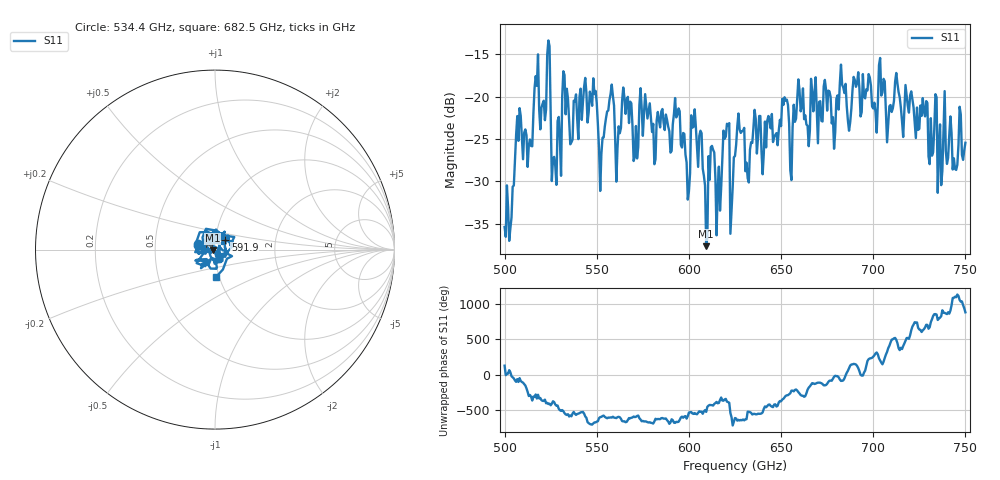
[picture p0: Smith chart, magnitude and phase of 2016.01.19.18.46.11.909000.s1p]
!Created with skrf (http://scikit-rf.org).
# GHz S RI R 50.0
!freq ReS11 ImS11
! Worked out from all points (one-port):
!   401 points, 500 GHz to 750 GHz, reference 50 ohm
!   lowest |S11| = -37.7 dB at 609.4 GHz (marker M1), VSWR 1.03, Z = 48.7 - j0.329 ohm
!   |S11| at or under -10 dB: start of sweep to end of sweep
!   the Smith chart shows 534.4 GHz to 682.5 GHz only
!   S11 on the Smith chart (normalised r, x): 534.4 GHz: 0.83, +0.05; 591.9 GHz: 1.11, +0.12; 682.5 GHz: 0.96, -0.30
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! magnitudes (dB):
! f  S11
! 500 GHz  -35.4
! 503.8 GHz  -34.3
! 507.5 GHz  -25.2
! 513.8 GHz  -25.1
! 516.9 GHz  -17.6
! 523.8 GHz  -13.4
! 526.9 GHz  -27.1
! 531.2 GHz  -20.0
! 534.4 GHz  -20.3
! 562.5 GHz  -24.3
! 591.9 GHz  -22.1
! 593.8 GHz  -22.2
! 599.4 GHz  -32.2
! 602.5 GHz  -23.6
! 609.4 GHz  -37.7
! 613.1 GHz  -26.3
! 616.2 GHz  -28.3
! 620 GHz  -24.7
! 623.8 GHz  -30.7
! 625 GHz  -27.0
! 651.9 GHz  -20.1
! 656.2 GHz  -23.7
! 660.6 GHz  -21.7
! 682.5 GHz  -16.2
! 687.5 GHz  -23.0
! 718.8 GHz  -21.1
! 736.2 GHz  -23.3
! 750 GHz  -25.5
